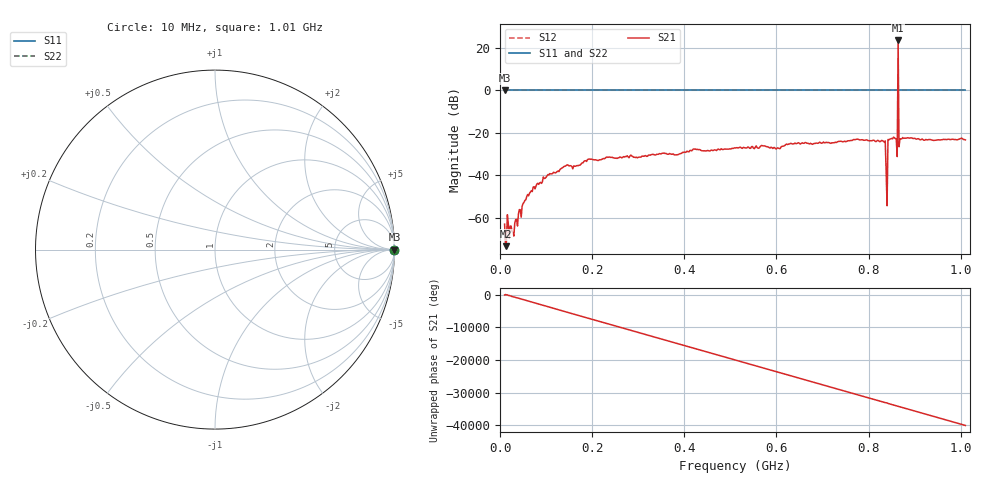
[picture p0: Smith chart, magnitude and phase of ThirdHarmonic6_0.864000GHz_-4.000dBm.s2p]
! 8/16/2025 4:32:34 AM
! C:\ANRITSUVNA\TEMP\TEMP.S2P
! CHANNEL.1
! TR.MEASUREMENT
! RAW.DATA
! RF.CORRECTION.OFF
! AVERAGING.OFF
! IF.BANDWIDTH: 5KHZ
! SWEEPTYPE:  FREQ.SWEEP(Linear)
! Reference Plane Port Info
! PORT:  PORT1  PORT2
! DISTANCE:  0  m  0  m
! TIME:  0  s  0  s
! PHASE.OFFSET:  0  deg.  0  deg.
! LOSS:  0  dB  0  dB
! REF.LOSS:  0  dB  0  dB
! REF.FREQ:  0  Hz  0  Hz
! Power Info
! POWER:  -20  dBm  -20  dBm
! EFF.POWER:  -20  dBm  -20  dBm
! SOURCE.ATTEN:  0  dB  0  dB
! TEST.ATTEN:  0  dB  0  dB
# GHZ S RI R 50.0
! FREQ.GHZ  S11RE  S11IM  S21RE  S21IM  S12RE  S12IM  S22RE  S22IM
!; PortSelection: Port_12
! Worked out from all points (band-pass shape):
!   501 points, 10 MHz to 1.01 GHz, reference 50 ohm
!   highest |S21| = 23.40 dB at 864 MHz (marker M1); lowest = -73.3 dB at 12 MHz (marker M2)
!   |S21| within 3 dB of the highest: 863.8901 MHz to 864.12 MHz (229.9 kHz wide, 0.0266 % of centre)
!   lowest |S11| = 0.0 dB at 10 MHz (marker M3)
!   |S11| at or under -10 dB: nowhere
!   |S22| runs from 0.0 to 0.0 dB; largest |S21 - S12| = 14
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0.01  1 0  0.000312 -0.000638  1 0  1 0
0.012  1 0  5.06e-05 0.000209  1 0  1 0
0.016  1 0  0.00103 -0.000585  1 0  1 0
0.02  1 0  -0.000281 0.000169  1 0  1 0
0.028  1 0  -0.000362 0.000261  1 0  1 0
0.056  1 0  -0.000632 0.00258  1 0  1 0
0.098  1 0  -0.00833 -0.00164  1 0  1 0
0.178  1 0  -0.0188 -0.00548  1 0  1 0
0.344  1 0  0.0308 -0.00473  1 0  1 0
0.51  1 0  -0.0424 0.0116  1 0  1 0
0.678  1 0  -0.0169 -0.0506  1 0  1 0
0.832  1 0  -0.0626 0.00746  1 0  1 0
0.836  1 0  0.0613 0.0197  1 0  1 0
0.842  1 0  -0.046 0.0518  1 0  1 0
0.844  1 0  0.0403 0.0552  1 0  1 0
0.846  1 0  0.0633 -0.0314  1 0  1 0
0.858  1 0  -0.0654 -0.0323  1 0  1 0
0.86  1 0  -0.0413 0.0581  1 0  1 0
0.864  1 0  10.47 -10.44  1 0  1 0
0.868  1 0  -0.0689 0.0203  1 0  1 0
0.87  1 0  0.0088 0.0716  1 0  1 0
1.01  1 0  -0.0606 -0.0304  1 0  1 0
